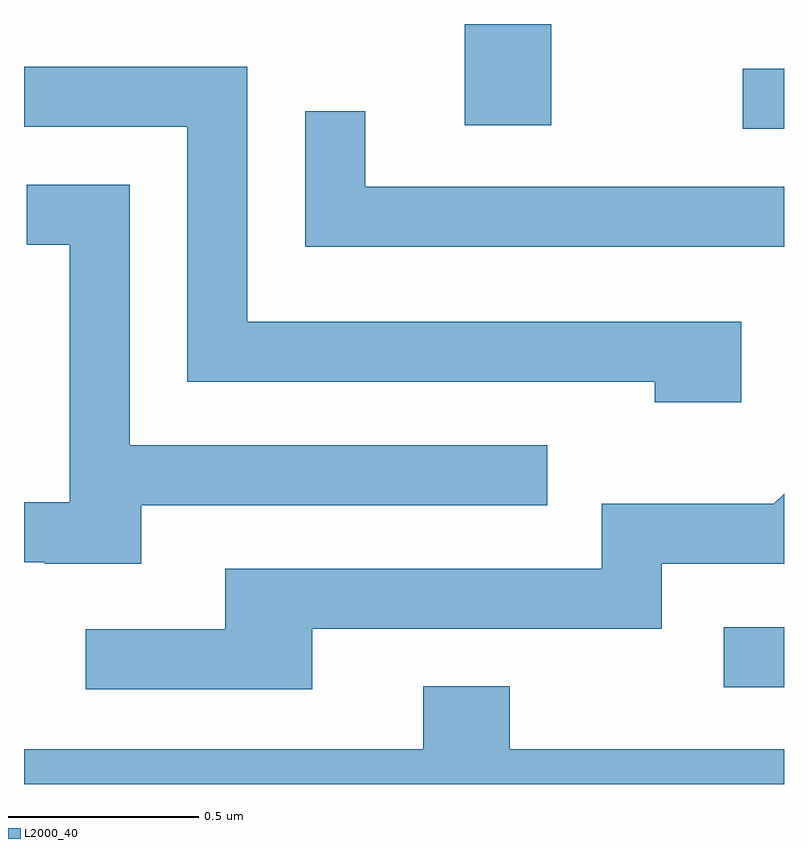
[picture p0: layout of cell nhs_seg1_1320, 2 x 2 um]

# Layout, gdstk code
import gdstk
lib = gdstk.Library(unit=1e-6, precision=1e-09)
def R(c, l, rs):  # rectangles x0, y0, x1, y1
    for r in rs: c.add(gdstk.rectangle(r[:2], r[2:], *l))
def P(c, l, *ps):  # polygons
    for p in ps: c.add(gdstk.Polygon(p, *l))
L2000_40 = (2000, 40)

nhs_seg1_1320 = lib.new_cell('nhs_seg1_1320')
R(nhs_seg1_1320, L2000_40, [(196.453,939.966,196.611,940.124), (196.503,941.436,196.611,941.594), (195.771,941.446,195.999,941.712)])
P(nhs_seg1_1320, L2000_40, [(196.499,940.929),(195.199,940.929),(195.199,941.599),(194.611,941.599),(194.611,941.441),(195.041,941.441),(195.041,940.771),(196.271,940.771),(196.271,940.716),(196.499,940.716)],
  [(196.611,941.284),(195.509,941.284),(195.509,941.483),(195.351,941.483),(195.351,941.126),(196.611,941.126)],
  [(194.919,940.446),(195.988,940.446),(195.988,940.604),(194.889,940.604),(194.889,941.289),(194.618,941.289),(194.618,941.131),(194.731,941.131),(194.731,940.454),(194.611,940.454),(194.611,940.296),(194.665,940.296),(194.665,940.291),(194.919,940.291)],
  [(195.369,940.121),(196.289,940.121),(196.289,940.291),(196.611,940.291),(196.611,940.476),(196.584,940.449),(196.131,940.449),(196.131,940.279),(195.141,940.279),(195.141,940.119),(194.773,940.119),(194.773,939.961),(195.369,939.961)],
  [(196.611,939.804),(195.889,939.804),(195.889,939.969),(195.661,939.969),(195.661,939.804),(194.611,939.804),(194.611,939.712),(196.611,939.712)])

lib.write_gds('nhs_seg1_1320.gds')
